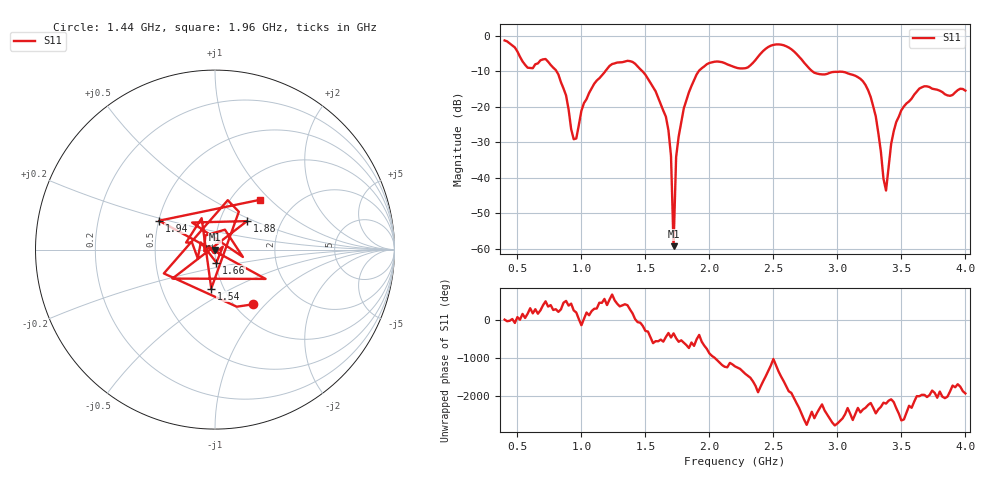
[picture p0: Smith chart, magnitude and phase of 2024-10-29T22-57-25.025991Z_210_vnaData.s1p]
!Created with skrf (http://scikit-rf.org).
# Hz S RI R 50.0
!freq ReS11 ImS11
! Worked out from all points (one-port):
!   181 points, 400 MHz to 4 GHz, reference 50 ohm
!   lowest |S11| = -59.3 dB at 1.72 GHz (marker M1), VSWR 1.00, Z = 50.1 + j0.0209 ohm
!   |S11| at or under -10 dB: 806.5 MHz to 1.185 GHz (378.8 MHz wide, 38 % of centre); 1.478 GHz to 1.915 GHz (436.7 MHz wide, 25.7 % of centre); 2.806 GHz to end of sweep
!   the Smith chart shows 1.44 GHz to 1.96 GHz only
!   S11 on the Smith chart (normalised r, x): 1.44 GHz: 1.21, -0.86; 1.54 GHz: 0.87, -0.40; 1.66 GHz: 1.00, -0.15; 1.88 GHz: 1.35, +0.45; 1.94 GHz: 0.50, +0.18; 1.96 GHz: 1.35, +0.87
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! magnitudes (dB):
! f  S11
! 400 MHz  -1.2
! 580 MHz  -8.9
! 720 MHz  -6.5
! 860 MHz  -14.8
! 960 MHz  -28.9
! 1 GHz  -21.1
! 1.1 GHz  -13.5
! 1.3 GHz  -7.4
! 1.44 GHz  -8.6
! 1.54 GHz  -13.2
! 1.66 GHz  -22.8
! 1.7 GHz  -33.8
! 1.72 GHz  -59.3
! 1.74 GHz  -34.1
! 1.76 GHz  -28.3
! 1.88 GHz  -12.4
! 1.94 GHz  -9.1
! 1.96 GHz  -8.6
! 2.2 GHz  -8.8
! 2.66 GHz  -4.3
! 2.82 GHz  -10.4
! 3.1 GHz  -10.8
! 3.26 GHz  -17.2
! 3.38 GHz  -43.6
! 3.44 GHz  -26.9
! 3.56 GHz  -18.4
! 3.68 GHz  -14.2
! 4 GHz  -15.4
